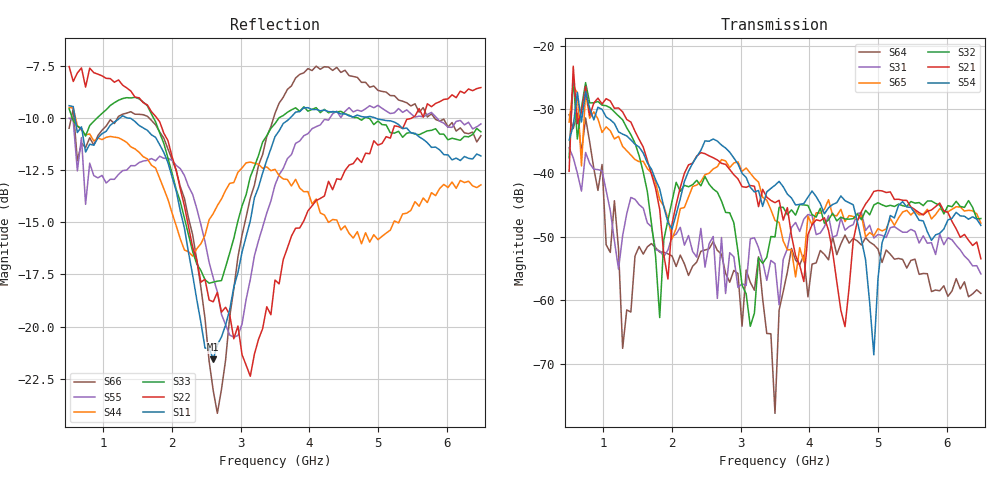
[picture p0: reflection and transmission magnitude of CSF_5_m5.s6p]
!Keysight Technologies,M9804A,MY58100912,A.14.10.03
!Date: Thursday, April 27, 2023 10:28:33
!Correction: S11(C  6-Port  )
!S12(C  6-Port  )
!S13(C  6-Port  )
!S14(C  6-Port  )
!S15(C  6-Port  )
!S16(C  6-Port  )
!S21(C  6-Port  )
!S22(C  6-Port  )
!S23(C  6-Port  )
!S24(C  6-Port  )
!S25(C  6-Port  )
!S26(C  6-Port  )
!S31(C  6-Port  )
!S32(C  6-Port  )
!S33(C  6-Port  )
!S34(C  6-Port  )
!S35(C  6-Port  )
!S36(C  6-Port  )
!S41(C  6-Port  )
!S42(C  6-Port  )
!S43(C  6-Port  )
!S44(C  6-Port  )
!S45(C  6-Port  )
!S46(C  6-Port  )
!S51(C  6-Port  )
!S52(C  6-Port  )
!S53(C  6-Port  )
!S54(C  6-Port  )
!S55(C  6-Port  )
!S56(C  6-Port  )
!S61(C  6-Port  )
!S62(C  6-Port  )
!S63(C  6-Port  )
!S64(C  6-Port  )
!S65(C  6-Port  )
!S66(C  6-Port  )
!S6P File: Measurement: :
# Hz S  RI  R 50
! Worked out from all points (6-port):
!   101 points, 500 MHz to 6.5 GHz, reference 50 ohm
!   strongest paths, dB at 500 MHz, 2 GHz, 3.5 GHz, 5 GHz, 6.5 GHz:
!     S54: -34.8, -48.8, -41.9, -56.7, -48.2
!     S21: -39.7, -48.0, -44.7, -42.8, -53.5
!     S32: -37.6, -44.4, -50.0, -44.7, -47.2
!     S65: -32.0, -50.3, -47.5, -48.8, -47.9
!     S31: -36.1, -50.0, -54.2, -49.7, -55.9
!     S64: -30.8, -53.0, -77.7, -51.9, -58.9
!   lowest |S11| = -21.6 dB at 2.6 GHz (marker M1), VSWR 1.18, Z = 42.6 + j2.07 ohm
!   |S11| at or under -10 dB: 587 MHz to 1.236 GHz (649.1 MHz wide, 71.2 % of centre); 1.386 GHz to 3.716 GHz (2.331 GHz wide, 91.4 % of centre); 4.97 GHz to end of sweep
